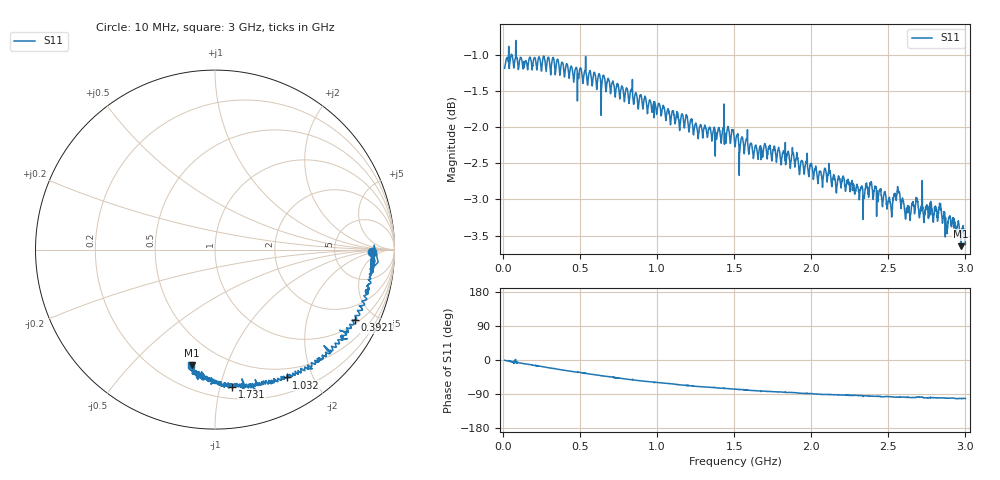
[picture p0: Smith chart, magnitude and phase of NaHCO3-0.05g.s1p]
# HZ S RI R 50
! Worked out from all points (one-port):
!   2020 points, 10 MHz to 3 GHz, reference 50 ohm
!   lowest |S11| = -3.6 dB at 2.97 GHz (marker M1), VSWR 4.84, Z = 16.8 - j38.1 ohm
!   |S11| at or under -10 dB: nowhere
!   S11 on the Smith chart (normalised r, x): 10 MHz: 15, -1; 392.1 MHz: 1.17, -3.87; 1.032 GHz: 0.38, -1.64; 1.731 GHz: 0.29, -1.09; 3 GHz: 0.33, -0.76
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1e7  0.8721 -0.0118
5.887072e7  0.8865 -0.0861
6.775631e7  0.8695 -0.116
9.885586e7  0.864 -0.1064
2.24735e8  0.8497 -0.2316
3.846755e8  0.7889 -0.3911
3.920802e8  0.7798 -0.3932
6.082961e8  0.6491 -0.5385
7.578702e8  0.556 -0.6172
9.030014e8  0.4687 -0.6799
1.031842e9  0.3996 -0.7121
1.132546e9  0.3483 -0.7345
1.248058e9  0.2806 -0.7469
1.50574e9  0.1758 -0.7494
1.625696e9  0.118 -0.7481
1.730842e9  0.0964 -0.7658
1.878935e9  0.0549 -0.7608
2.068494e9  -0.0112 -0.7311
2.25361e9  -0.0391 -0.7191
2.514254e9  -0.085 -0.6982
2.561644e9  -0.1003 -0.713
2.626805e9  -0.1081 -0.6851
2.662347e9  -0.1071 -0.6927
2.700852e9  -0.0893 -0.6824
2.749722e9  -0.121 -0.6916
2.834135e9  -0.1219 -0.6907
2.970381e9  -0.1302 -0.6442
3e9  -0.1326 -0.6454
